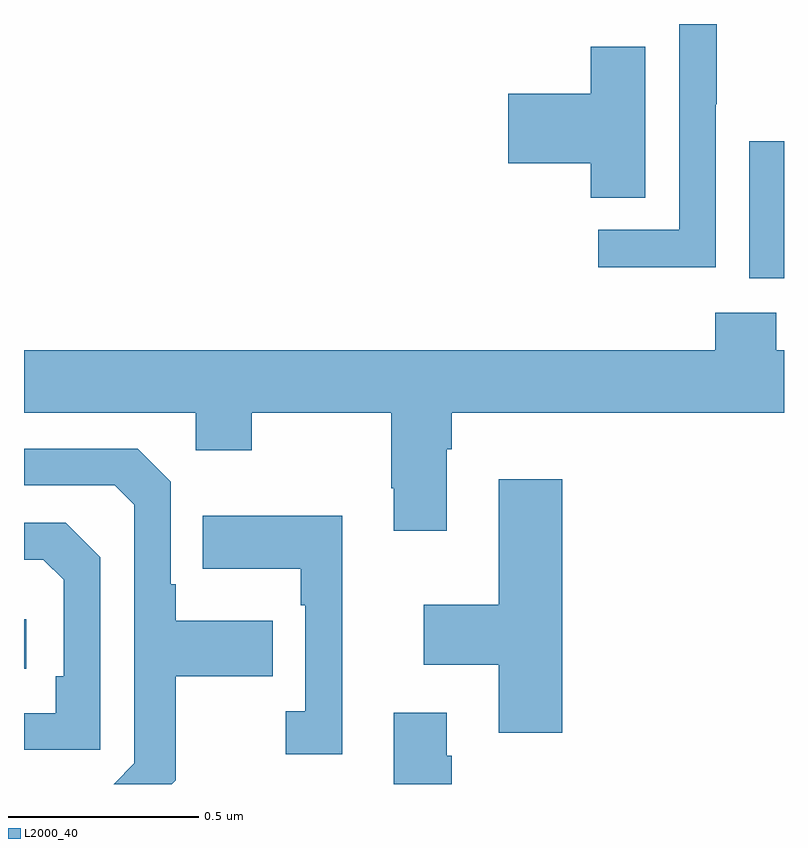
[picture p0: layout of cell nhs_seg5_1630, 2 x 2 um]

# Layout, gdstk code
import gdstk
lib = gdstk.Library(unit=1e-6, precision=1e-09)
def R(c, l, rs):  # rectangles x0, y0, x1, y1
    for r in rs: c.add(gdstk.rectangle(r[:2], r[2:], *l))
def P(c, l, *ps):  # polygons
    for p in ps: c.add(gdstk.Polygon(p, *l))
L2000_40 = (2000, 40)

nhs_seg5_1630 = lib.new_cell('nhs_seg5_1630')
R(nhs_seg5_1630, L2000_40, [(133,840.102,133.006,840.232), (134.909,841.13,135,841.491)])
P(nhs_seg5_1630, L2000_40, [(134.82,841.588),(134.823,841.588),(134.823,841.799),(134.724,841.799),(134.724,841.257),(134.511,841.257),(134.511,841.159),(134.82,841.159)],
  [(134.635,841.739),(134.492,841.739),(134.492,841.616),(134.274,841.616),(134.274,841.433),(134.492,841.433),(134.492,841.342),(134.635,841.342)],
  [(134.113,840.68),(134.126,840.68),(134.126,840.776),(135,840.776),(135,840.94),(134.979,840.94),(134.979,841.039),(134.819,841.039),(134.819,840.94),(133,840.94),(133,840.776),(133.452,840.776),(133.452,840.677),(133.599,840.677),(133.599,840.776),(133.966,840.776),(133.966,840.577),(133.973,840.577),(133.973,840.465),(134.113,840.465)],
  [(133.399,839.809),(133.399,840.082),(133.655,840.082),(133.655,840.229),(133.399,840.229),(133.399,840.325),(133.386,840.325),(133.386,840.594),(133.299,840.681),(133,840.681),(133,840.585),(133.239,840.585),(133.29,840.534),(133.29,839.853),(133.236,839.799),(133.389,839.799)],
  [(134.417,840.601),(134.249,840.601),(134.249,840.271),(134.052,840.271),(134.052,840.113),(134.249,840.113),(134.249,839.934),(134.417,839.934)],
  [(133.838,840.505),(133.471,840.505),(133.471,840.365),(133.728,840.365),(133.728,840.269),(133.74,840.269),(133.74,839.99),(133.689,839.99),(133.689,839.877),(133.838,839.877)],
  [(133.2,840.396),(133.11,840.486),(133,840.486),(133,840.389),(133.051,840.389),(133.104,840.336),(133.104,840.082),(133.084,840.082),(133.084,839.985),(133,839.985),(133,839.889),(133.2,839.889)],
  [(134.126,839.873),(134.113,839.873),(134.113,839.986),(133.973,839.986),(133.973,839.799),(134.126,839.799)])

lib.write_gds('nhs_seg5_1630.gds')
